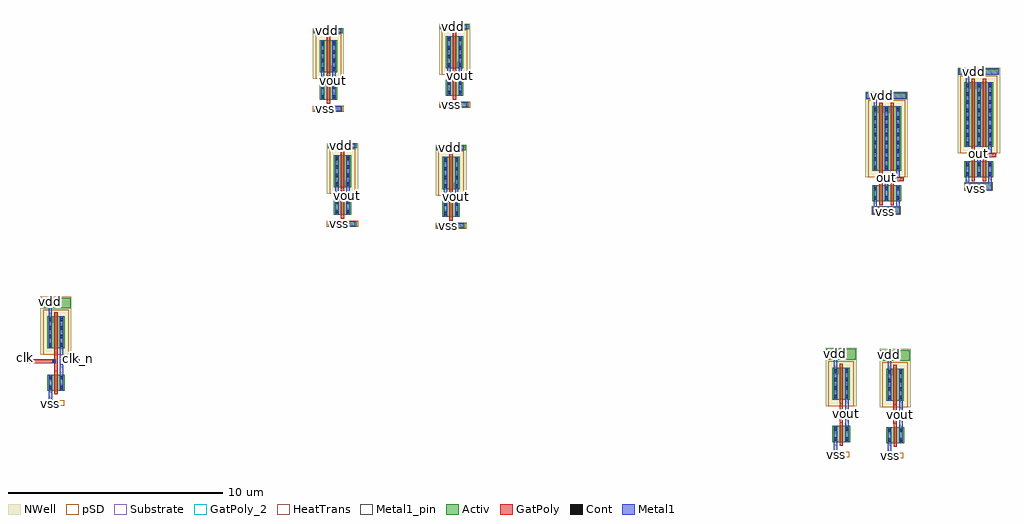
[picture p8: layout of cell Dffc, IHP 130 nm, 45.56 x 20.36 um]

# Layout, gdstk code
from math import pi, radians
import gdstk
lib = gdstk.Library(unit=1e-6, precision=1e-09)
def R(c, l, rs):  # rectangles x0, y0, x1, y1
    for r in rs: c.add(gdstk.rectangle(r[:2], r[2:], *l))
def A(c, l, x, y, w, h, nx, ny, dx, dy):  # array of equal rectangles
    R(c, l, [(x+i*dx, y+j*dy, x+i*dx+w, y+j*dy+h) for i in range(nx) for j in range(ny)])
def P(c, l, *ps):  # polygons
    for p in ps: c.add(gdstk.Polygon(p, *l))
Activ = (1, 0)
GatPoly = (5, 0)
GatPoly_2 = (5, 2)
Cont = (6, 0)
Metal1 = (8, 0)
Metal1_pin = (8, 2)
pSD = (14, 0)
NWell = (31, 0)
Substrate = (40, 0)
HeatTrans = (51, 0)

pmos_1_1 = lib.new_cell('pmos$1$1')
R(pmos_1_1, Activ, [(0,0,0.3,0.3), (0,0,0.83,3), (0.53,0,0.83,0.3)])
R(pmos_1_1, GatPoly, [(0.34,-0.18,0.49,3.18), (0.34,-0.18,0.49,3.18)])
A(pmos_1_1, Cont, 0.07, 0.07, 0.16, 0.16, 1, 7, 0, 0.385)
A(pmos_1_1, Cont, 0.6, 0.07, 0.16, 0.16, 1, 7, 0, 0.385)
R(pmos_1_1, Cont, [(0.07,2.77,0.23,2.93), (0.6,2.77,0.76,2.93)])
R(pmos_1_1, Metal1, [(0.07,0,0.23,3), (0.07,0,0.23,3), (0.6,0,0.76,3), (0.6,0,0.76,3)])
R(pmos_1_1, pSD, [(-0.18,-0.3,1.01,3.3)])
R(pmos_1_1, NWell, [(-0.31,-0.31,1.14,3.31)])
R(pmos_1_1, Substrate, [(0.53,0,0.83,0.3)])
R(pmos_1_1, HeatTrans, [(0.34,-0.18,0.49,3.18)])
pmos_1_1.add(gdstk.Label('pmos', (0.415,1.5), layer=63, texttype=0))
pmos_1_1.add(gdstk.Label('pmos', (0.415,1.5), layer=51, texttype=0))

nmos_1_1 = lib.new_cell('nmos$1$1')
R(nmos_1_1, Activ, [(0,0,0.3,0.3), (0,0,0.83,0.75), (0.53,0,0.83,0.3)])
R(nmos_1_1, GatPoly, [(0.34,-0.18,0.49,0.93)])
R(nmos_1_1, GatPoly_2, [(0.34,-0.18,0.49,0.93)])
R(nmos_1_1, Cont, [(0.07,0.07,0.23,0.23), (0.6,0.07,0.76,0.23), (0.07,0.52,0.23,0.68), (0.6,0.52,0.76,0.68)])
R(nmos_1_1, Metal1, [(0.07,0,0.23,0.75), (0.6,0,0.76,0.75)])
R(nmos_1_1, Metal1_pin, [(0.07,0,0.23,0.75), (0.6,0,0.76,0.75)])
R(nmos_1_1, HeatTrans, [(0.34,-0.18,0.49,0.93)])
nmos_1_1.add(gdstk.Label('nmos', (0.415,0.375), layer=63, texttype=0))
nmos_1_1.add(gdstk.Label('nmos', (0.415,0.375), layer=51, texttype=0))

nmos_3 = lib.new_cell('nmos$3')
R(nmos_3, Activ, [(0,0,0.3,0.3), (0,0,0.83,0.75), (0.53,0,0.83,0.3)])
R(nmos_3, GatPoly, [(0.34,-0.18,0.49,0.93)])
R(nmos_3, GatPoly_2, [(0.34,-0.18,0.49,0.93)])
R(nmos_3, Cont, [(0.07,0.07,0.23,0.23), (0.6,0.07,0.76,0.23), (0.07,0.52,0.23,0.68), (0.6,0.52,0.76,0.68)])
R(nmos_3, Metal1, [(0.07,0,0.23,0.75), (0.6,0,0.76,0.75)])
R(nmos_3, Metal1_pin, [(0.07,0,0.23,0.75), (0.6,0,0.76,0.75)])
R(nmos_3, HeatTrans, [(0.34,-0.18,0.49,0.93)])
nmos_3.add(gdstk.Label('nmos', (0.415,0.375), layer=63, texttype=0))
nmos_3.add(gdstk.Label('nmos', (0.415,0.375), layer=51, texttype=0))

pmos_3 = lib.new_cell('pmos$3')
R(pmos_3, Activ, [(0,0,0.3,0.3), (0,0,0.83,1.5), (0.53,0,0.83,0.3)])
R(pmos_3, GatPoly, [(0.34,-0.18,0.49,1.68), (0.34,-0.18,0.49,1.68)])
A(pmos_3, Cont, 0.07, 0.07, 0.16, 0.16, 1, 4, 0, 0.4)
A(pmos_3, Cont, 0.6, 0.07, 0.16, 0.16, 1, 4, 0, 0.4)
R(pmos_3, Metal1, [(0.07,0,0.23,1.5), (0.07,0,0.23,1.5), (0.6,0,0.76,1.5), (0.6,0,0.76,1.5)])
R(pmos_3, pSD, [(-0.18,-0.3,1.01,1.8)])
R(pmos_3, NWell, [(-0.31,-0.31,1.14,1.81)])
R(pmos_3, Substrate, [(0.53,0,0.83,0.3)])
R(pmos_3, HeatTrans, [(0.34,-0.18,0.49,1.68)])
pmos_3.add(gdstk.Label('pmos', (0.415,0.75), layer=63, texttype=0))
pmos_3.add(gdstk.Label('pmos', (0.415,0.75), layer=51, texttype=0))

nmos_1_3 = lib.new_cell('nmos$1$3')
R(nmos_1_3, Activ, [(0,0,0.3,0.3), (0,0,0.83,0.75), (0.53,0,0.83,0.3)])
R(nmos_1_3, GatPoly, [(0.34,-0.18,0.49,0.93)])
R(nmos_1_3, GatPoly_2, [(0.34,-0.18,0.49,0.93)])
R(nmos_1_3, Cont, [(0.07,0.07,0.23,0.23), (0.6,0.07,0.76,0.23), (0.07,0.52,0.23,0.68), (0.6,0.52,0.76,0.68)])
R(nmos_1_3, Metal1, [(0.07,0,0.23,0.75), (0.6,0,0.76,0.75)])
R(nmos_1_3, Metal1_pin, [(0.07,0,0.23,0.75), (0.6,0,0.76,0.75)])
R(nmos_1_3, HeatTrans, [(0.34,-0.18,0.49,0.93)])
nmos_1_3.add(gdstk.Label('nmos', (0.415,0.375), layer=63, texttype=0))
nmos_1_3.add(gdstk.Label('nmos', (0.415,0.375), layer=51, texttype=0))

pmos_1_3 = lib.new_cell('pmos$1$3')
R(pmos_1_3, Activ, [(0,0,0.3,0.3), (0,0,0.83,1.5), (0.53,0,0.83,0.3)])
R(pmos_1_3, GatPoly, [(0.34,-0.18,0.49,1.68), (0.34,-0.18,0.49,1.68)])
A(pmos_1_3, Cont, 0.07, 0.07, 0.16, 0.16, 1, 4, 0, 0.4)
A(pmos_1_3, Cont, 0.6, 0.07, 0.16, 0.16, 1, 4, 0, 0.4)
R(pmos_1_3, Metal1, [(0.07,0,0.23,1.5), (0.07,0,0.23,1.5), (0.6,0,0.76,1.5), (0.6,0,0.76,1.5)])
R(pmos_1_3, pSD, [(-0.18,-0.3,1.01,1.8)])
R(pmos_1_3, NWell, [(-0.31,-0.31,1.14,1.81)])
R(pmos_1_3, Substrate, [(0.53,0,0.83,0.3)])
R(pmos_1_3, HeatTrans, [(0.34,-0.18,0.49,1.68)])
pmos_1_3.add(gdstk.Label('pmos', (0.415,0.75), layer=63, texttype=0))
pmos_1_3.add(gdstk.Label('pmos', (0.415,0.75), layer=51, texttype=0))

nmos_1_3_1 = lib.new_cell('nmos$1$3$1')
R(nmos_1_3_1, Activ, [(0,0,0.3,0.3), (0,0,0.83,0.75), (0.53,0,0.83,0.3)])
R(nmos_1_3_1, GatPoly, [(0.34,-0.18,0.49,0.93)])
R(nmos_1_3_1, GatPoly_2, [(0.34,-0.18,0.49,0.93)])
R(nmos_1_3_1, Cont, [(0.07,0.07,0.23,0.23), (0.6,0.07,0.76,0.23), (0.07,0.52,0.23,0.68), (0.6,0.52,0.76,0.68)])
R(nmos_1_3_1, Metal1, [(0.07,0,0.23,0.75), (0.6,0,0.76,0.75)])
R(nmos_1_3_1, Metal1_pin, [(0.07,0,0.23,0.75), (0.6,0,0.76,0.75)])
R(nmos_1_3_1, HeatTrans, [(0.34,-0.18,0.49,0.93)])
nmos_1_3_1.add(gdstk.Label('nmos', (0.415,0.375), layer=63, texttype=0))
nmos_1_3_1.add(gdstk.Label('nmos', (0.415,0.375), layer=51, texttype=0))

pmos_1_3_1 = lib.new_cell('pmos$1$3$1')
R(pmos_1_3_1, Activ, [(0,0,0.3,0.3), (0,0,0.83,1.5), (0.53,0,0.83,0.3)])
R(pmos_1_3_1, GatPoly, [(0.34,-0.18,0.49,1.68), (0.34,-0.18,0.49,1.68)])
A(pmos_1_3_1, Cont, 0.07, 0.07, 0.16, 0.16, 1, 4, 0, 0.4)
A(pmos_1_3_1, Cont, 0.6, 0.07, 0.16, 0.16, 1, 4, 0, 0.4)
R(pmos_1_3_1, Metal1, [(0.07,0,0.23,1.5), (0.07,0,0.23,1.5), (0.6,0,0.76,1.5), (0.6,0,0.76,1.5)])
R(pmos_1_3_1, pSD, [(-0.18,-0.3,1.01,1.8)])
R(pmos_1_3_1, NWell, [(-0.31,-0.31,1.14,1.81)])
R(pmos_1_3_1, Substrate, [(0.53,0,0.83,0.3)])
R(pmos_1_3_1, HeatTrans, [(0.34,-0.18,0.49,1.68)])
pmos_1_3_1.add(gdstk.Label('pmos', (0.415,0.75), layer=63, texttype=0))
pmos_1_3_1.add(gdstk.Label('pmos', (0.415,0.75), layer=51, texttype=0))

nmos_1_3_1_1 = lib.new_cell('nmos$1$3$1$1')
R(nmos_1_3_1_1, Activ, [(0,0,0.3,0.3), (0,0,0.83,0.75), (0.53,0,0.83,0.3)])
R(nmos_1_3_1_1, GatPoly, [(0.34,-0.18,0.49,0.93)])
R(nmos_1_3_1_1, GatPoly_2, [(0.34,-0.18,0.49,0.93)])
R(nmos_1_3_1_1, Cont, [(0.07,0.07,0.23,0.23), (0.6,0.07,0.76,0.23), (0.07,0.52,0.23,0.68), (0.6,0.52,0.76,0.68)])
R(nmos_1_3_1_1, Metal1, [(0.07,0,0.23,0.75), (0.6,0,0.76,0.75)])
R(nmos_1_3_1_1, Metal1_pin, [(0.07,0,0.23,0.75), (0.6,0,0.76,0.75)])
R(nmos_1_3_1_1, HeatTrans, [(0.34,-0.18,0.49,0.93)])
nmos_1_3_1_1.add(gdstk.Label('nmos', (0.415,0.375), layer=63, texttype=0))
nmos_1_3_1_1.add(gdstk.Label('nmos', (0.415,0.375), layer=51, texttype=0))

pmos_1_3_1_1 = lib.new_cell('pmos$1$3$1$1')
R(pmos_1_3_1_1, Activ, [(0,0,0.3,0.3), (0,0,0.83,1.5), (0.53,0,0.83,0.3)])
R(pmos_1_3_1_1, GatPoly, [(0.34,-0.18,0.49,1.68), (0.34,-0.18,0.49,1.68)])
A(pmos_1_3_1_1, Cont, 0.07, 0.07, 0.16, 0.16, 1, 4, 0, 0.4)
A(pmos_1_3_1_1, Cont, 0.6, 0.07, 0.16, 0.16, 1, 4, 0, 0.4)
R(pmos_1_3_1_1, Metal1, [(0.07,0,0.23,1.5), (0.07,0,0.23,1.5), (0.6,0,0.76,1.5), (0.6,0,0.76,1.5)])
R(pmos_1_3_1_1, pSD, [(-0.18,-0.3,1.01,1.8)])
R(pmos_1_3_1_1, NWell, [(-0.31,-0.31,1.14,1.81)])
R(pmos_1_3_1_1, Substrate, [(0.53,0,0.83,0.3)])
R(pmos_1_3_1_1, HeatTrans, [(0.34,-0.18,0.49,1.68)])
pmos_1_3_1_1.add(gdstk.Label('pmos', (0.415,0.75), layer=63, texttype=0))
pmos_1_3_1_1.add(gdstk.Label('pmos', (0.415,0.75), layer=51, texttype=0))

nmos_3_1 = lib.new_cell('nmos$3$1')
R(nmos_3_1, Activ, [(0,0,0.3,0.3), (0,0,0.83,0.75), (0.53,0,0.83,0.3)])
R(nmos_3_1, GatPoly, [(0.34,-0.18,0.49,0.93)])
R(nmos_3_1, GatPoly_2, [(0.34,-0.18,0.49,0.93)])
R(nmos_3_1, Cont, [(0.07,0.07,0.23,0.23), (0.6,0.07,0.76,0.23), (0.07,0.52,0.23,0.68), (0.6,0.52,0.76,0.68)])
R(nmos_3_1, Metal1, [(0.07,0,0.23,0.75), (0.6,0,0.76,0.75)])
R(nmos_3_1, Metal1_pin, [(0.07,0,0.23,0.75), (0.6,0,0.76,0.75)])
R(nmos_3_1, HeatTrans, [(0.34,-0.18,0.49,0.93)])
nmos_3_1.add(gdstk.Label('nmos', (0.415,0.375), layer=63, texttype=0))
nmos_3_1.add(gdstk.Label('nmos', (0.415,0.375), layer=51, texttype=0))

pmos_3_1 = lib.new_cell('pmos$3$1')
R(pmos_3_1, Activ, [(0,0,0.3,0.3), (0,0,0.83,1.5), (0.53,0,0.83,0.3)])
R(pmos_3_1, GatPoly, [(0.34,-0.18,0.49,1.68), (0.34,-0.18,0.49,1.68)])
A(pmos_3_1, Cont, 0.07, 0.07, 0.16, 0.16, 1, 4, 0, 0.4)
A(pmos_3_1, Cont, 0.6, 0.07, 0.16, 0.16, 1, 4, 0, 0.4)
R(pmos_3_1, Metal1, [(0.07,0,0.23,1.5), (0.07,0,0.23,1.5), (0.6,0,0.76,1.5), (0.6,0,0.76,1.5)])
R(pmos_3_1, pSD, [(-0.18,-0.3,1.01,1.8)])
R(pmos_3_1, NWell, [(-0.31,-0.31,1.14,1.81)])
R(pmos_3_1, Substrate, [(0.53,0,0.83,0.3)])
R(pmos_3_1, HeatTrans, [(0.34,-0.18,0.49,1.68)])
pmos_3_1.add(gdstk.Label('pmos', (0.415,0.75), layer=63, texttype=0))
pmos_3_1.add(gdstk.Label('pmos', (0.415,0.75), layer=51, texttype=0))

nmos_3_1_1 = lib.new_cell('nmos$3$1$1')
R(nmos_3_1_1, Activ, [(0,0,0.3,0.3), (0,0,0.83,0.75), (0.53,0,0.83,0.3)])
R(nmos_3_1_1, GatPoly, [(0.34,-0.18,0.49,0.93)])
R(nmos_3_1_1, GatPoly_2, [(0.34,-0.18,0.49,0.93)])
R(nmos_3_1_1, Cont, [(0.07,0.07,0.23,0.23), (0.6,0.07,0.76,0.23), (0.07,0.52,0.23,0.68), (0.6,0.52,0.76,0.68)])
R(nmos_3_1_1, Metal1, [(0.07,0,0.23,0.75), (0.6,0,0.76,0.75)])
R(nmos_3_1_1, Metal1_pin, [(0.07,0,0.23,0.75), (0.6,0,0.76,0.75)])
R(nmos_3_1_1, HeatTrans, [(0.34,-0.18,0.49,0.93)])
nmos_3_1_1.add(gdstk.Label('nmos', (0.415,0.375), layer=63, texttype=0))
nmos_3_1_1.add(gdstk.Label('nmos', (0.415,0.375), layer=51, texttype=0))

pmos_3_1_1 = lib.new_cell('pmos$3$1$1')
R(pmos_3_1_1, Activ, [(0,0,0.3,0.3), (0,0,0.83,1.5), (0.53,0,0.83,0.3)])
R(pmos_3_1_1, GatPoly, [(0.34,-0.18,0.49,1.68), (0.34,-0.18,0.49,1.68)])
A(pmos_3_1_1, Cont, 0.07, 0.07, 0.16, 0.16, 1, 4, 0, 0.4)
A(pmos_3_1_1, Cont, 0.6, 0.07, 0.16, 0.16, 1, 4, 0, 0.4)
R(pmos_3_1_1, Metal1, [(0.07,0,0.23,1.5), (0.07,0,0.23,1.5), (0.6,0,0.76,1.5), (0.6,0,0.76,1.5)])
R(pmos_3_1_1, pSD, [(-0.18,-0.3,1.01,1.8)])
R(pmos_3_1_1, NWell, [(-0.31,-0.31,1.14,1.81)])
R(pmos_3_1_1, Substrate, [(0.53,0,0.83,0.3)])
R(pmos_3_1_1, HeatTrans, [(0.34,-0.18,0.49,1.68)])
pmos_3_1_1.add(gdstk.Label('pmos', (0.415,0.75), layer=63, texttype=0))
pmos_3_1_1.add(gdstk.Label('pmos', (0.415,0.75), layer=51, texttype=0))

nmos_3_1_1_1 = lib.new_cell('nmos$3$1$1$1')
R(nmos_3_1_1_1, Activ, [(0,0,0.3,0.3), (0,0,0.83,0.75), (0.53,0,0.83,0.3)])
R(nmos_3_1_1_1, GatPoly, [(0.34,-0.18,0.49,0.93)])
R(nmos_3_1_1_1, GatPoly_2, [(0.34,-0.18,0.49,0.93)])
R(nmos_3_1_1_1, Cont, [(0.07,0.07,0.23,0.23), (0.6,0.07,0.76,0.23), (0.07,0.52,0.23,0.68), (0.6,0.52,0.76,0.68)])
R(nmos_3_1_1_1, Metal1, [(0.07,0,0.23,0.75), (0.6,0,0.76,0.75)])
R(nmos_3_1_1_1, Metal1_pin, [(0.07,0,0.23,0.75), (0.6,0,0.76,0.75)])
R(nmos_3_1_1_1, HeatTrans, [(0.34,-0.18,0.49,0.93)])
nmos_3_1_1_1.add(gdstk.Label('nmos', (0.415,0.375), layer=63, texttype=0))
nmos_3_1_1_1.add(gdstk.Label('nmos', (0.415,0.375), layer=51, texttype=0))

pmos_3_1_1_1 = lib.new_cell('pmos$3$1$1$1')
R(pmos_3_1_1_1, Activ, [(0,0,0.3,0.3), (0,0,0.83,1.5), (0.53,0,0.83,0.3)])
R(pmos_3_1_1_1, GatPoly, [(0.34,-0.18,0.49,1.68), (0.34,-0.18,0.49,1.68)])
A(pmos_3_1_1_1, Cont, 0.07, 0.07, 0.16, 0.16, 1, 4, 0, 0.4)
A(pmos_3_1_1_1, Cont, 0.6, 0.07, 0.16, 0.16, 1, 4, 0, 0.4)
R(pmos_3_1_1_1, Metal1, [(0.07,0,0.23,1.5), (0.07,0,0.23,1.5), (0.6,0,0.76,1.5), (0.6,0,0.76,1.5)])
R(pmos_3_1_1_1, pSD, [(-0.18,-0.3,1.01,1.8)])
R(pmos_3_1_1_1, NWell, [(-0.31,-0.31,1.14,1.81)])
R(pmos_3_1_1_1, Substrate, [(0.53,0,0.83,0.3)])
R(pmos_3_1_1_1, HeatTrans, [(0.34,-0.18,0.49,1.68)])
pmos_3_1_1_1.add(gdstk.Label('pmos', (0.415,0.75), layer=63, texttype=0))
pmos_3_1_1_1.add(gdstk.Label('pmos', (0.415,0.75), layer=51, texttype=0))

pmos_1_1_1 = lib.new_cell('pmos$1$1$1')
R(pmos_1_1_1, Activ, [(0,0,0.3,0.3), (0,0,0.83,3), (0.53,0,0.83,0.3)])
R(pmos_1_1_1, GatPoly, [(0.34,-0.18,0.49,3.18), (0.34,-0.18,0.49,3.18)])
A(pmos_1_1_1, Cont, 0.07, 0.07, 0.16, 0.16, 1, 7, 0, 0.385)
A(pmos_1_1_1, Cont, 0.6, 0.07, 0.16, 0.16, 1, 7, 0, 0.385)
R(pmos_1_1_1, Cont, [(0.07,2.77,0.23,2.93), (0.6,2.77,0.76,2.93)])
R(pmos_1_1_1, Metal1, [(0.07,0,0.23,3), (0.07,0,0.23,3), (0.6,0,0.76,3), (0.6,0,0.76,3)])
R(pmos_1_1_1, pSD, [(-0.18,-0.3,1.01,3.3)])
R(pmos_1_1_1, NWell, [(-0.31,-0.31,1.14,3.31)])
R(pmos_1_1_1, Substrate, [(0.53,0,0.83,0.3)])
R(pmos_1_1_1, HeatTrans, [(0.34,-0.18,0.49,3.18)])
pmos_1_1_1.add(gdstk.Label('pmos', (0.415,1.5), layer=63, texttype=0))
pmos_1_1_1.add(gdstk.Label('pmos', (0.415,1.5), layer=51, texttype=0))

nmos_1_1_1 = lib.new_cell('nmos$1$1$1')
R(nmos_1_1_1, Activ, [(0,0,0.3,0.3), (0,0,0.83,0.75), (0.53,0,0.83,0.3)])
R(nmos_1_1_1, GatPoly, [(0.34,-0.18,0.49,0.93)])
R(nmos_1_1_1, GatPoly_2, [(0.34,-0.18,0.49,0.93)])
R(nmos_1_1_1, Cont, [(0.07,0.07,0.23,0.23), (0.6,0.07,0.76,0.23), (0.07,0.52,0.23,0.68), (0.6,0.52,0.76,0.68)])
R(nmos_1_1_1, Metal1, [(0.07,0,0.23,0.75), (0.6,0,0.76,0.75)])
R(nmos_1_1_1, Metal1_pin, [(0.07,0,0.23,0.75), (0.6,0,0.76,0.75)])
R(nmos_1_1_1, HeatTrans, [(0.34,-0.18,0.49,0.93)])
nmos_1_1_1.add(gdstk.Label('nmos', (0.415,0.375), layer=63, texttype=0))
nmos_1_1_1.add(gdstk.Label('nmos', (0.415,0.375), layer=51, texttype=0))

dffc = lib.new_cell('Dffc')
R(dffc, Activ, [(21.869,0.649,22.504,0.819), (19.349,0.699,19.984,0.869), (-17.309,3.101,-16.674,3.271), (21.624,5.144,23.009,5.649), (19.104,5.194,20.489,5.699), (-17.554,7.596,-16.169,8.101), (0.924,11.333,2.239,11.588), (-4.143,11.417,-2.828,11.672), (21.259,11.978,22.544,12.343), (25.562,13.101,26.847,13.466), (0.884,14.983,2.259,15.213), (-4.183,15.067,-2.808,15.297), (-4.8,16.786,-3.485,17.041), (1.089,16.979,2.404,17.234), (20.959,17.368,22.859,17.683), (25.262,18.491,27.162,18.806), (-4.84,20.436,-3.465,20.666), (1.049,20.629,2.424,20.859)])
R(dffc, GatPoly, [(22.239,2.209,22.389,3.099), (19.719,2.259,19.869,3.149), (22.129,2.589,22.299,2.759), (19.609,2.639,19.779,2.809)])
P(dffc, GatPoly, [(-16.939,4.661),(-16.939,5.038),(-18.353,5.038),(-18.353,5.228),(-16.939,5.228),(-16.939,5.551),(-16.789,5.551),(-16.789,4.661)],
  [(22.109,13.523),(22.109,13.843),(22.259,13.843),(22.259,13.713),(22.729,13.713),(22.729,13.523)],
  [(21.579,13.458),(21.579,13.548),(21.544,13.548),(21.544,13.713),(21.579,13.713),(21.579,13.843),(21.729,13.843),(21.729,13.458)],
  [(26.412,14.646),(26.412,14.966),(26.562,14.966),(26.562,14.836),(27.032,14.836),(27.032,14.646)],
  [(25.882,14.581),(25.882,14.671),(25.847,14.671),(25.847,14.836),(25.882,14.836),(25.882,14.966),(26.032,14.966),(26.032,14.581)])
R(dffc, GatPoly_2, [(1.509,12.653,1.659,12.798), (-3.558,12.737,-3.408,12.882), (1.509,12.983,1.659,13.148), (-3.558,13.067,-3.408,13.232), (22.564,13.543,22.719,13.703), (21.549,13.553,21.719,13.708), (26.867,14.666,27.022,14.826), (25.852,14.676,26.022,14.831), (-4.215,18.106,-4.065,18.251), (1.674,18.299,1.824,18.444), (-4.215,18.436,-4.065,18.601), (1.674,18.629,1.824,18.794)])
R(dffc, Cont, [(21.979,0.649,22.139,0.809), (19.459,0.699,19.619,0.859), (22.139,2.594,22.299,2.754), (19.619,2.644,19.779,2.804), (-17.199,3.101,-17.039,3.261), (-17.039,5.046,-16.879,5.206), (21.969,5.324,22.129,5.484), (19.449,5.374,19.609,5.534), (-17.209,7.776,-17.049,7.936), (1.369,11.378,1.534,11.538), (-3.698,11.462,-3.533,11.622), (21.744,12.038,21.954,12.243), (1.239,12.733,1.399,12.893), (1.769,12.733,1.929,12.893), (-3.828,12.817,-3.668,12.977), (-3.298,12.817,-3.138,12.977), (26.047,13.161,26.257,13.366), (21.839,13.683,21.999,13.843), (26.142,14.806,26.302,14.966), (1.449,15.018,1.609,15.178), (-3.618,15.102,-3.458,15.262), (-4.355,16.831,-4.19,16.991), (1.534,17.024,1.699,17.184), (21.634,17.463,21.794,17.623), (-4.485,18.186,-4.325,18.346), (-3.955,18.186,-3.795,18.346), (1.404,18.379,1.564,18.539), (1.934,18.379,2.094,18.539), (25.937,18.586,26.097,18.746), (-4.275,20.471,-4.115,20.631), (1.614,20.664,1.774,20.824)])
R(dffc, Metal1, [(21.974,0.514,22.134,1.304), (19.454,0.564,19.614,1.354), (22.499,2.029,22.664,3.279), (19.979,2.079,20.144,3.329), (22.134,2.589,22.304,2.759), (19.614,2.639,19.784,2.809), (-17.204,2.966,-17.044,3.756), (21.969,4.779,22.129,5.694), (19.449,4.829,19.609,5.744), (-17.044,5.041,-16.874,5.211), (-17.209,7.231,-17.049,8.146), (0.989,11.348,2.179,11.568), (-4.078,11.432,-2.888,11.652), (1.239,12.598,1.399,13.163), (1.769,12.608,1.929,13.178), (-3.828,12.682,-3.668,13.247), (-3.298,12.692,-3.138,13.262), (0.914,15.008,2.179,15.188), (-4.153,15.092,-2.888,15.272), (-4.735,16.801,-3.545,17.021), (1.154,16.994,2.344,17.214), (-4.485,18.051,-4.325,18.616), (-3.955,18.061,-3.795,18.631), (1.404,18.244,1.564,18.809), (1.934,18.254,2.094,18.824), (-4.81,20.461,-3.545,20.641), (1.079,20.654,2.344,20.834)])
P(dffc, Metal1, [(-16.679,4.481),(-16.679,5.731),(-16.514,5.731),(-16.514,5.221),(-15.753,5.221),(-15.753,5.019),(-16.514,5.019),(-16.514,4.481)],
  [(21.279,11.993),(21.279,12.328),(21.309,12.328),(21.309,12.593),(21.469,12.593),(21.469,12.328),(22.369,12.328),(22.369,12.593),(22.529,12.593),(22.529,11.993)],
  [(21.839,13.333),(21.839,13.843),(22.369,13.843),(22.369,14.023),(22.529,14.023),(22.529,13.683),(21.999,13.683),(21.999,13.333)],
  [(21.309,17.023),(21.309,17.388),(20.979,17.388),(20.979,17.658),(22.839,17.658),(22.839,17.388),(21.469,17.388),(21.469,17.023)],
  [(25.582,13.116),(25.582,13.451),(25.612,13.451),(25.612,13.716),(25.772,13.716),(25.772,13.451),(26.672,13.451),(26.672,13.716),(26.832,13.716),(26.832,13.116)],
  [(26.142,14.456),(26.142,14.966),(26.672,14.966),(26.672,15.146),(26.832,15.146),(26.832,14.806),(26.302,14.806),(26.302,14.456)],
  [(25.612,18.146),(25.612,18.511),(25.282,18.511),(25.282,18.781),(27.142,18.781),(27.142,18.511),(25.772,18.511),(25.772,18.146)],
  [(19.454,1.354),(19.454,1.354),(19.614,1.354),(19.614,1.354)],
  [(21.974,1.304),(21.974,1.304),(22.134,1.304),(22.134,1.304)],
  [(-17.204,3.756),(-17.204,3.756),(-17.044,3.756),(-17.044,3.756)])
R(dffc, Metal1_pin, [(21.974,0.644,22.134,0.819), (19.454,0.694,19.614,0.869), (22.499,2.514,22.664,2.769), (19.979,2.564,20.144,2.819), (-17.204,3.096,-17.044,3.271), (-16.679,4.966,-16.514,5.221), (21.969,5.209,22.129,5.614), (19.449,5.259,19.609,5.664), (-17.209,7.661,-17.049,8.066), (1.369,11.378,1.534,11.538), (-3.698,11.462,-3.533,11.622), (21.744,12.038,21.954,12.243), (1.239,12.698,1.399,12.908), (1.769,12.708,1.929,12.908), (-3.828,12.782,-3.668,12.992), (-3.298,12.792,-3.138,12.992), (26.047,13.161,26.257,13.366), (21.839,13.683,21.999,13.843), (26.142,14.806,26.302,14.966), (1.449,15.018,1.609,15.178), (-3.618,15.102,-3.458,15.262), (-4.355,16.831,-4.19,16.991), (1.534,17.024,1.699,17.184), (21.634,17.468,21.794,17.623), (-4.485,18.151,-4.325,18.361), (-3.955,18.161,-3.795,18.361), (1.404,18.344,1.564,18.554), (1.934,18.354,2.094,18.554), (25.937,18.591,26.097,18.746), (-4.275,20.471,-4.115,20.631), (1.614,20.664,1.774,20.824)])
R(dffc, pSD, [(21.844,0.599,22.704,0.844), (19.324,0.649,20.184,0.894), (-17.334,3.051,-16.474,3.296), (0.859,11.318,2.309,11.598), (-4.208,11.402,-2.758,11.682), (21.234,11.958,22.569,12.363), (25.537,13.081,26.872,13.486), (-4.865,16.771,-3.415,17.051), (1.024,16.964,2.474,17.244)])
R(dffc, NWell, [(21.589,5.089,23.039,5.699), (19.069,5.139,20.519,5.749), (-17.589,7.541,-16.139,8.151), (0.859,14.973,2.309,15.228), (-4.208,15.057,-2.758,15.312), (20.929,17.333,22.909,17.708), (25.232,18.456,27.212,18.831), (-4.865,20.426,-3.415,20.681), (1.024,20.619,2.474,20.874)])
dffc.add(gdstk.Reference(pmos_1_1, (22.599,17.023), rotation=pi))
dffc.add(gdstk.Reference(nmos_1_1, (22.069,13.343), rotation=pi))
dffc.add(gdstk.Reference(nmos_1_1, (22.599,13.343), rotation=pi))
dffc.add(gdstk.Reference(pmos_1_1, (22.069,17.023), rotation=pi))
dffc.add(gdstk.Reference(nmos_3, (-3.898,11.957)))
dffc.add(gdstk.Reference(pmos_3, (-3.898,13.247)))
dffc.add(gdstk.Reference(nmos_1_3, (20.214,2.104), rotation=pi))
dffc.add(gdstk.Reference(pmos_1_3, (20.209,4.829), rotation=pi))
dffc.add(gdstk.Reference(nmos_1_3_1, (22.734,2.054), rotation=pi))
dffc.add(gdstk.Reference(pmos_1_3_1, (22.729,4.779), rotation=pi))
dffc.add(gdstk.Reference(nmos_1_3_1_1, (-16.444,4.506), rotation=pi))
dffc.add(gdstk.Reference(pmos_1_3_1_1, (-16.449,7.231), rotation=pi))
dffc.add(gdstk.Reference(nmos_3_1, (1.169,11.873)))
dffc.add(gdstk.Reference(pmos_3_1, (1.169,13.163)))
dffc.add(gdstk.Reference(nmos_3_1_1, (1.334,17.519)))
dffc.add(gdstk.Reference(pmos_3_1_1, (1.334,18.809)))
dffc.add(gdstk.Reference(nmos_3_1_1_1, (-4.555,17.326)))
dffc.add(gdstk.Reference(pmos_3_1_1_1, (-4.555,18.616)))
dffc.add(gdstk.Reference(pmos_1_1_1, (26.902,18.146), rotation=pi))
dffc.add(gdstk.Reference(nmos_1_1_1, (26.372,14.466), rotation=pi))
dffc.add(gdstk.Reference(nmos_1_1_1, (26.902,14.466), rotation=pi))
dffc.add(gdstk.Reference(pmos_1_1_1, (26.372,18.146), rotation=pi))
dffc.add(gdstk.Label('clk', (-18.279,5.325), layer=63, texttype=0))
dffc.add(gdstk.Label('clk_n', (-15.793,5.255), layer=63, texttype=0))
dffc.add(gdstk.Label('out', (21.899,13.713), layer=8, texttype=2))
dffc.add(gdstk.Label('vss', (21.864,12.113), layer=8, texttype=2))
dffc.add(gdstk.Label('vdd', (21.704,17.538), layer=8, texttype=2))
dffc.add(gdstk.Label('vout', (-3.228,12.887), layer=8, texttype=2))
dffc.add(gdstk.Label('vin', (-3.758,12.872), layer=8, texttype=2))
dffc.add(gdstk.Label('vss', (-3.608,11.542), layer=8, texttype=2))
dffc.add(gdstk.Label('vdd', (-3.528,15.182), layer=8, texttype=2))
dffc.add(gdstk.Label('vout', (22.549,2.649), layer=8, texttype=2))
dffc.add(gdstk.Label('vss', (22.079,0.724), layer=8, texttype=2))
dffc.add(gdstk.Label('vdd', (22.054,5.459), layer=8, texttype=2))
dffc.add(gdstk.Label('vout', (-16.629,5.101), layer=8, texttype=2))
dffc.add(gdstk.Label('vss', (-17.099,3.176), layer=8, texttype=2))
dffc.add(gdstk.Label('vdd', (-17.124,7.911), layer=8, texttype=2))
dffc.add(gdstk.Label('vout', (1.839,12.803), layer=8, texttype=2))
dffc.add(gdstk.Label('vin', (1.309,12.788), layer=8, texttype=2))
dffc.add(gdstk.Label('vss', (1.459,11.458), layer=8, texttype=2))
dffc.add(gdstk.Label('vdd', (1.539,15.098), layer=8, texttype=2))
dffc.add(gdstk.Label('vout', (2.004,18.449), layer=8, texttype=2))
dffc.add(gdstk.Label('vin', (1.474,18.434), layer=8, texttype=2))
dffc.add(gdstk.Label('vss', (1.624,17.104), layer=8, texttype=2))
dffc.add(gdstk.Label('vdd', (1.704,20.744), layer=8, texttype=2))
dffc.add(gdstk.Label('vout', (-3.885,18.256), layer=8, texttype=2))
dffc.add(gdstk.Label('vin', (-4.415,18.241), layer=8, texttype=2))
dffc.add(gdstk.Label('vss', (-4.265,16.911), layer=8, texttype=2))
dffc.add(gdstk.Label('vdd', (-4.185,20.551), layer=8, texttype=2))
dffc.add(gdstk.Label('out', (26.202,14.836), layer=8, texttype=2))
dffc.add(gdstk.Label('vss', (26.1,13.21), layer=8, texttype=2))
dffc.add(gdstk.Label('vdd', (26.007,18.661), layer=8, texttype=2))
dffc.add(gdstk.Label('vout', (20.029,2.699), layer=8, texttype=2))
dffc.add(gdstk.Label('vss', (19.559,0.774), layer=8, texttype=2))
dffc.add(gdstk.Label('vdd', (19.534,5.509), layer=8, texttype=2))
dffc.add(gdstk.Label('D', (22.659,13.638), layer=5, texttype=2))
dffc.add(gdstk.Label('clr', (21.629,13.628), layer=5, texttype=2))
dffc.add(gdstk.Label('Entrada_N', (-3.458,12.812), layer=5, texttype=2))
dffc.add(gdstk.Label('Entrada_P', (-3.493,13.162), layer=5, texttype=2))
dffc.add(gdstk.Label('vin', (22.214,2.664), layer=5, texttype=2))
dffc.add(gdstk.Label('vin', (-16.964,5.116), layer=5, texttype=2))
dffc.add(gdstk.Label('Entrada_N', (1.609,12.728), layer=5, texttype=2))
dffc.add(gdstk.Label('Entrada_P', (1.574,13.078), layer=5, texttype=2))
dffc.add(gdstk.Label('Entrada_N', (1.774,18.374), layer=5, texttype=2))
dffc.add(gdstk.Label('Entrada_P', (1.739,18.724), layer=5, texttype=2))
dffc.add(gdstk.Label('Entrada_N', (-4.115,18.181), layer=5, texttype=2))
dffc.add(gdstk.Label('Entrada_P', (-4.15,18.531), layer=5, texttype=2))
dffc.add(gdstk.Label('D', (26.962,14.761), layer=5, texttype=2))
dffc.add(gdstk.Label('clr', (25.932,14.751), layer=5, texttype=2))
dffc.add(gdstk.Label('vin', (19.694,2.714), layer=5, texttype=2))

lib.write_gds('Dffc.gds')
